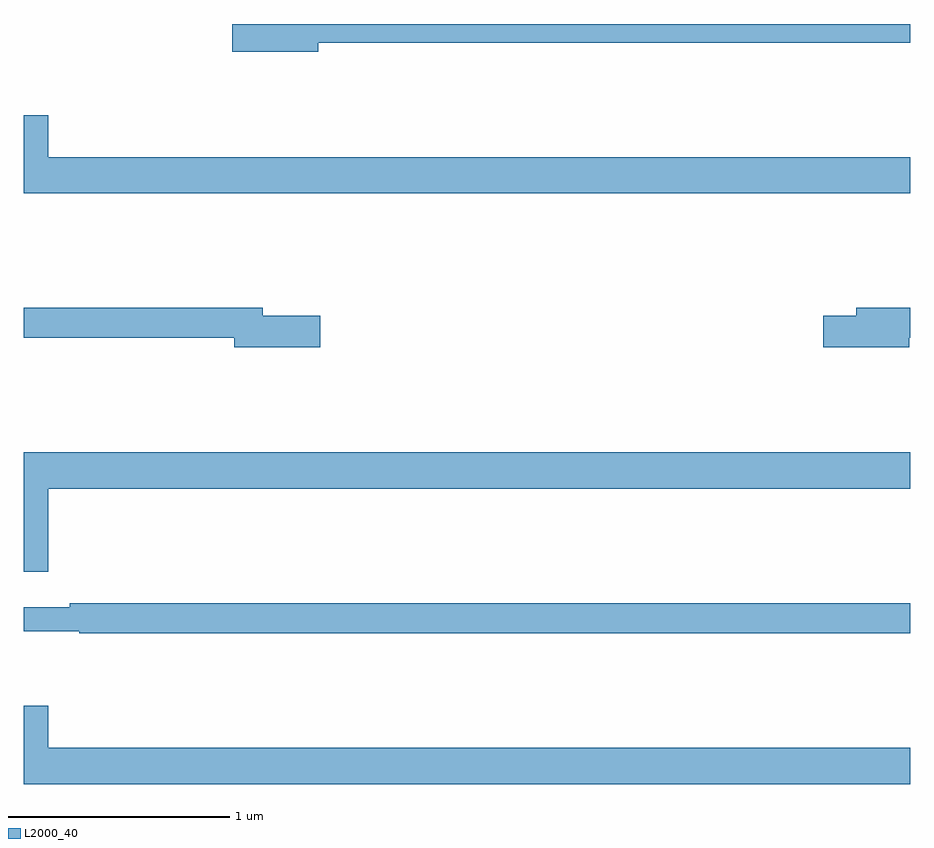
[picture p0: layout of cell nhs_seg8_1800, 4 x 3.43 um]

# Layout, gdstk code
import gdstk
lib = gdstk.Library(unit=1e-6, precision=1e-09)
def P(c, l, *ps):  # polygons
    for p in ps: c.add(gdstk.Polygon(p, *l))
L2000_40 = (2000, 40)

nhs_seg8_1800 = lib.new_cell('nhs_seg8_1800')
P(nhs_seg8_1800, L2000_40, [(226.33,1147.816),(229,1147.816),(229,1147.9),(225.942,1147.9),(225.942,1147.774),(226.33,1147.774)],
  [(229,1147.3),(225.112,1147.3),(225.112,1147.489),(225,1147.489),(225,1147.136),(229,1147.136)],
  [(228.994,1146.484),(229,1146.484),(229,1146.62),(228.755,1146.62),(228.755,1146.584),(228.606,1146.584),(228.606,1146.442),(228.994,1146.442)],
  [(226.339,1146.584),(226.078,1146.584),(226.078,1146.62),(225,1146.62),(225,1146.484),(225.95,1146.484),(225.95,1146.442),(226.339,1146.442)],
  [(225.112,1145.804),(229,1145.804),(229,1145.968),(225,1145.968),(225,1145.43),(225.112,1145.43)],
  [(229,1145.288),(225.208,1145.288),(225.208,1145.269),(225,1145.269),(225,1145.16),(225.25,1145.16),(225.25,1145.152),(229,1145.152)],
  [(229,1144.636),(225.112,1144.636),(225.112,1144.825),(225,1144.825),(225,1144.472),(229,1144.472)])

lib.write_gds('nhs_seg8_1800.gds')
